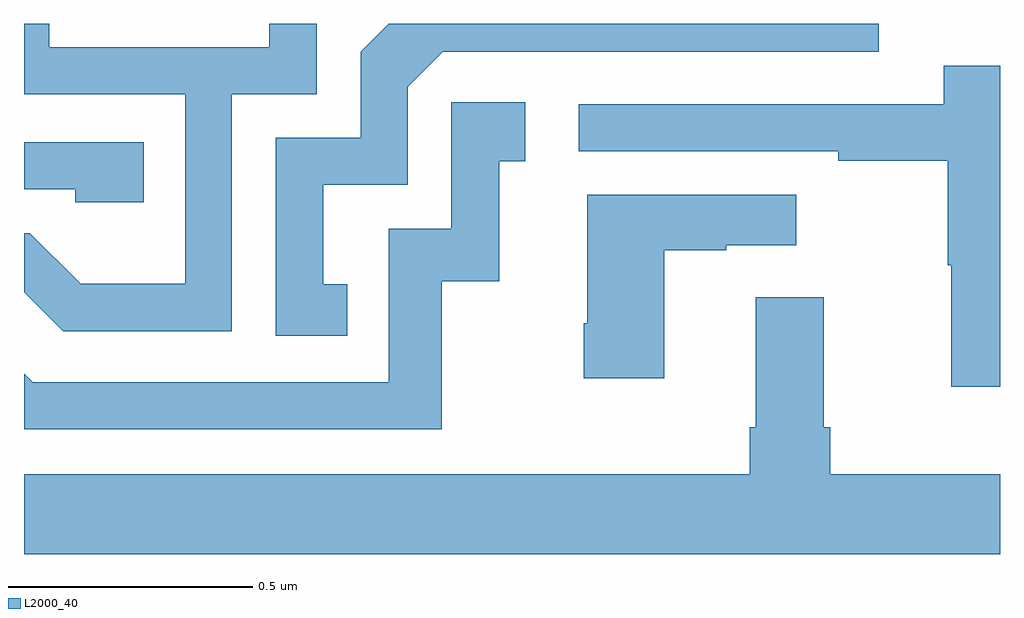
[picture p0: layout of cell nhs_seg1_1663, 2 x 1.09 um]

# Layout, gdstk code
import gdstk
lib = gdstk.Library(unit=1e-6, precision=1e-09)
def P(c, l, *ps):  # polygons
    for p in ps: c.add(gdstk.Polygon(p, *l))
L2000_40 = (2000, 40)

nhs_seg1_1663 = lib.new_cell('nhs_seg1_1663')
P(nhs_seg1_1663, L2000_40, [(132.662,505.665),(132.613,505.665),(132.613,505.869),(132.786,505.869),(132.786,506.07),(132.858,506.142),(133.752,506.142),(133.752,506.199),(132.747,506.199),(132.69,506.142),(132.69,505.965),(132.516,505.965),(132.516,505.56),(132.662,505.56)],
  [(132.426,506.055),(132.6,506.055),(132.6,506.199),(132.503,506.199),(132.503,506.151),(132.052,506.151),(132.052,506.199),(132,506.199),(132,506.055),(132.33,506.055),(132.33,505.666),(132.116,505.666),(132.012,505.77),(132,505.77),(132,505.649),(132.08,505.569),(132.426,505.569)],
  [(134,506.113),(133.885,506.113),(133.885,506.034),(133.137,506.034),(133.137,505.938),(133.669,505.938),(133.669,505.918),(133.893,505.918),(133.893,505.704),(133.9,505.704),(133.9,505.455),(134,505.455)],
  [(132.856,505.671),(132.974,505.671),(132.974,505.917),(133.027,505.917),(133.027,506.038),(132.876,506.038),(132.876,505.779),(132.747,505.779),(132.747,505.464),(132.018,505.464),(132,505.482),(132,505.368),(132.856,505.368)],
  [(132.245,505.956),(132,505.956),(132,505.86),(132.105,505.86),(132.105,505.833),(132.245,505.833)],
  [(133.312,505.735),(133.439,505.735),(133.439,505.745),(133.582,505.745),(133.582,505.849),(133.154,505.849),(133.154,505.585),(133.147,505.585),(133.147,505.473),(133.312,505.473)],
  [(134,505.276),(133.652,505.276),(133.652,505.372),(133.639,505.372),(133.639,505.639),(133.499,505.639),(133.499,505.372),(133.487,505.372),(133.487,505.276),(132,505.276),(132,505.112),(134,505.112)])

lib.write_gds('nhs_seg1_1663.gds')
